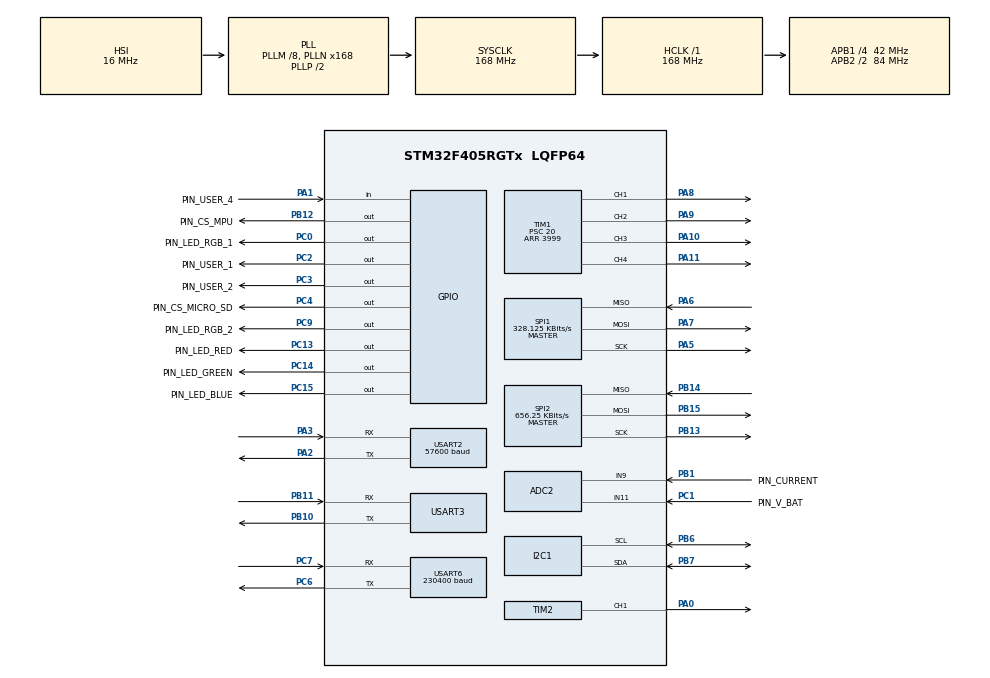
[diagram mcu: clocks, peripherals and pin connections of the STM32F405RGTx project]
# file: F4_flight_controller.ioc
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ADC2.Channel-0\#ChannelRegularConversion=ADC_CHANNEL_9
ADC2.ContinuousConvMode=ENABLE
ADC2.DMAContinuousRequests=ENABLE
ADC2.NbrOfConversionFlag=1
ADC2.Rank-0\#ChannelRegularConversion=1
ADC2.SamplingTime-0\#ChannelRegularConversion=ADC_SAMPLETIME_3CYCLES
Dma.ADC2.7.Direction=DMA_PERIPH_TO_MEMORY
Dma.ADC2.7.FIFOMode=DMA_FIFOMODE_DISABLE
Dma.ADC2.7.Instance=DMA2_Stream2
Dma.ADC2.7.MemDataAlignment=DMA_MDATAALIGN_HALFWORD
Dma.ADC2.7.MemInc=DMA_MINC_ENABLE
Dma.ADC2.7.Mode=DMA_CIRCULAR
Dma.ADC2.7.PeriphDataAlignment=DMA_PDATAALIGN_HALFWORD
Dma.ADC2.7.PeriphInc=DMA_PINC_DISABLE
Dma.ADC2.7.Priority=DMA_PRIORITY_LOW
Dma.I2C1_RX.2.Direction=DMA_PERIPH_TO_MEMORY
Dma.I2C1_RX.2.FIFOMode=DMA_FIFOMODE_DISABLE
Dma.I2C1_RX.2.Instance=DMA1_Stream0
Dma.I2C1_RX.2.MemDataAlignment=DMA_MDATAALIGN_BYTE
Dma.I2C1_RX.2.MemInc=DMA_MINC_ENABLE
Dma.I2C1_RX.2.Mode=DMA_NORMAL
Dma.I2C1_RX.2.PeriphDataAlignment=DMA_PDATAALIGN_BYTE
Dma.I2C1_RX.2.PeriphInc=DMA_PINC_DISABLE
Dma.I2C1_RX.2.Priority=DMA_PRIORITY_LOW
Dma.I2C1_TX.3.Direction=DMA_MEMORY_TO_PERIPH
Dma.I2C1_TX.3.FIFOMode=DMA_FIFOMODE_DISABLE
Dma.I2C1_TX.3.Instance=DMA1_Stream7
Dma.I2C1_TX.3.MemDataAlignment=DMA_MDATAALIGN_BYTE
Dma.I2C1_TX.3.MemInc=DMA_MINC_ENABLE
Dma.I2C1_TX.3.Mode=DMA_NORMAL
Dma.I2C1_TX.3.PeriphDataAlignment=DMA_PDATAALIGN_BYTE
Dma.I2C1_TX.3.PeriphInc=DMA_PINC_DISABLE
Dma.I2C1_TX.3.Priority=DMA_PRIORITY_LOW
Dma.Request0=SPI2_RX
Dma.Request1=SPI2_TX
Dma.Request10=USART2_RX
Dma.Request11=USART2_TX
Dma.Request2=I2C1_RX
Dma.Request3=I2C1_TX
Dma.Request4=SPI1_RX
Dma.Request5=SPI1_TX
Dma.Request6=USART6_TX
Dma.Request7=ADC2
Dma.Request8=USART3_RX
Dma.Request9=USART6_RX
Dma.SPI1_RX.4.Direction=DMA_PERIPH_TO_MEMORY
Dma.SPI1_RX.4.FIFOMode=DMA_FIFOMODE_DISABLE
Dma.SPI1_RX.4.Instance=DMA2_Stream0
Dma.SPI1_RX.4.MemDataAlignment=DMA_MDATAALIGN_BYTE
Dma.SPI1_RX.4.MemInc=DMA_MINC_ENABLE
Dma.SPI1_RX.4.Mode=DMA_NORMAL
Dma.SPI1_RX.4.PeriphDataAlignment=DMA_PDATAALIGN_BYTE
Dma.SPI1_RX.4.PeriphInc=DMA_PINC_DISABLE
Dma.SPI1_RX.4.Priority=DMA_PRIORITY_LOW
Dma.SPI1_TX.5.Direction=DMA_MEMORY_TO_PERIPH
Dma.SPI1_TX.5.FIFOMode=DMA_FIFOMODE_DISABLE
Dma.SPI1_TX.5.Instance=DMA2_Stream3
Dma.SPI1_TX.5.MemDataAlignment=DMA_MDATAALIGN_BYTE
Dma.SPI1_TX.5.MemInc=DMA_MINC_ENABLE
Dma.SPI1_TX.5.Mode=DMA_NORMAL
Dma.SPI1_TX.5.PeriphDataAlignment=DMA_PDATAALIGN_BYTE
Dma.SPI1_TX.5.PeriphInc=DMA_PINC_DISABLE
Dma.SPI1_TX.5.Priority=DMA_PRIORITY_LOW
Dma.SPI2_RX.0.Direction=DMA_PERIPH_TO_MEMORY
Dma.SPI2_RX.0.FIFOMode=DMA_FIFOMODE_DISABLE
Dma.SPI2_RX.0.Instance=DMA1_Stream3
Dma.SPI2_RX.0.MemDataAlignment=DMA_MDATAALIGN_BYTE
Dma.SPI2_RX.0.MemInc=DMA_MINC_ENABLE
Dma.SPI2_RX.0.Mode=DMA_NORMAL
Dma.SPI2_RX.0.PeriphDataAlignment=DMA_PDATAALIGN_BYTE
Dma.SPI2_RX.0.PeriphInc=DMA_PINC_DISABLE
Dma.SPI2_RX.0.Priority=DMA_PRIORITY_LOW
Dma.SPI2_TX.1.Direction=DMA_MEMORY_TO_PERIPH
Dma.SPI2_TX.1.FIFOMode=DMA_FIFOMODE_DISABLE
Dma.SPI2_TX.1.Instance=DMA1_Stream4
Dma.SPI2_TX.1.MemDataAlignment=DMA_MDATAALIGN_BYTE
Dma.SPI2_TX.1.MemInc=DMA_MINC_ENABLE
Dma.SPI2_TX.1.Mode=DMA_NORMAL
Dma.SPI2_TX.1.PeriphDataAlignment=DMA_PDATAALIGN_BYTE
Dma.SPI2_TX.1.PeriphInc=DMA_PINC_DISABLE
Dma.SPI2_TX.1.Priority=DMA_PRIORITY_LOW
Dma.USART2_RX.10.Direction=DMA_PERIPH_TO_MEMORY
Dma.USART2_RX.10.FIFOMode=DMA_FIFOMODE_DISABLE
Dma.USART2_RX.10.Instance=DMA1_Stream5
Dma.USART2_RX.10.MemDataAlignment=DMA_MDATAALIGN_BYTE
Dma.USART2_RX.10.MemInc=DMA_MINC_ENABLE
Dma.USART2_RX.10.Mode=DMA_NORMAL
Dma.USART2_RX.10.PeriphDataAlignment=DMA_PDATAALIGN_BYTE
Dma.USART2_RX.10.PeriphInc=DMA_PINC_DISABLE
Dma.USART2_RX.10.Priority=DMA_PRIORITY_LOW
Dma.USART2_TX.11.Direction=DMA_MEMORY_TO_PERIPH
Dma.USART2_TX.11.FIFOMode=DMA_FIFOMODE_DISABLE
Dma.USART2_TX.11.Instance=DMA1_Stream6
Dma.USART2_TX.11.MemDataAlignment=DMA_MDATAALIGN_BYTE
Dma.USART2_TX.11.MemInc=DMA_MINC_ENABLE
Dma.USART2_TX.11.Mode=DMA_NORMAL
Dma.USART2_TX.11.PeriphDataAlignment=DMA_PDATAALIGN_BYTE
Dma.USART2_TX.11.PeriphInc=DMA_PINC_DISABLE
Dma.USART2_TX.11.Priority=DMA_PRIORITY_LOW
Dma.USART3_RX.8.Direction=DMA_PERIPH_TO_MEMORY
Dma.USART3_RX.8.FIFOMode=DMA_FIFOMODE_DISABLE
Dma.USART3_RX.8.Instance=DMA1_Stream1
Dma.USART3_RX.8.MemDataAlignment=DMA_MDATAALIGN_BYTE
Dma.USART3_RX.8.MemInc=DMA_MINC_ENABLE
Dma.USART3_RX.8.Mode=DMA_CIRCULAR
Dma.USART3_RX.8.PeriphDataAlignment=DMA_PDATAALIGN_BYTE
Dma.USART3_RX.8.PeriphInc=DMA_PINC_DISABLE
Dma.USART3_RX.8.Priority=DMA_PRIORITY_LOW
Dma.USART6_RX.9.Direction=DMA_PERIPH_TO_MEMORY
Dma.USART6_RX.9.FIFOMode=DMA_FIFOMODE_DISABLE
Dma.USART6_RX.9.Instance=DMA2_Stream1
Dma.USART6_RX.9.MemDataAlignment=DMA_MDATAALIGN_BYTE
Dma.USART6_RX.9.MemInc=DMA_MINC_ENABLE
Dma.USART6_RX.9.Mode=DMA_NORMAL
Dma.USART6_RX.9.PeriphDataAlignment=DMA_PDATAALIGN_BYTE
Dma.USART6_RX.9.PeriphInc=DMA_PINC_DISABLE
Dma.USART6_RX.9.Priority=DMA_PRIORITY_LOW
Dma.USART6_TX.6.Direction=DMA_MEMORY_TO_PERIPH
Dma.USART6_TX.6.FIFOMode=DMA_FIFOMODE_DISABLE
Dma.USART6_TX.6.Instance=DMA2_Stream6
Dma.USART6_TX.6.MemDataAlignment=DMA_MDATAALIGN_BYTE
Dma.USART6_TX.6.MemInc=DMA_MINC_ENABLE
Dma.USART6_TX.6.Mode=DMA_NORMAL
Dma.USART6_TX.6.PeriphDataAlignment=DMA_PDATAALIGN_BYTE
Dma.USART6_TX.6.PeriphInc=DMA_PINC_DISABLE
Dma.USART6_TX.6.Priority=DMA_PRIORITY_LOW
I2C1.I2C_Mode=I2C_Fast
Mcu.Family=STM32F4
Mcu.Name=STM32F405RGTx
Mcu.Package=LQFP64
NVIC.DMA1_Stream0_IRQn=true\:0\:0\:false\:false\:true\:false\:true
NVIC.DMA1_Stream1_IRQn=true\:0\:0\:false\:false\:true\:false\:true
NVIC.DMA1_Stream3_IRQn=true\:0\:0\:false\:false\:true\:false\:true
NVIC.DMA1_Stream4_IRQn=true\:0\:0\:false\:false\:true\:false\:true
NVIC.DMA1_Stream5_IRQn=true\:0\:0\:false\:false\:true\:false\:true
NVIC.DMA1_Stream6_IRQn=true\:0\:0\:false\:false\:true\:false\:true
NVIC.DMA1_Stream7_IRQn=true\:0\:0\:false\:false\:true\:false\:true
NVIC.DMA2_Stream0_IRQn=true\:0\:0\:false\:false\:true\:false\:true
NVIC.DMA2_Stream1_IRQn=true\:0\:0\:false\:false\:true\:false\:true
NVIC.DMA2_Stream2_IRQn=true\:0\:0\:false\:false\:true\:false\:true
NVIC.DMA2_Stream3_IRQn=true\:0\:0\:false\:false\:true\:false\:true
NVIC.DMA2_Stream6_IRQn=true\:0\:0\:false\:false\:true\:false\:true
NVIC.I2C1_ER_IRQn=true\:0\:0\:false\:false\:true\:true\:true
NVIC.I2C1_EV_IRQn=true\:0\:0\:false\:false\:true\:true\:true
NVIC.PriorityGroup=NVIC_PRIORITYGROUP_4
NVIC.TIM2_IRQn=true\:0\:0\:false\:false\:true\:true\:true
NVIC.USART2_IRQn=true\:0\:0\:false\:false\:true\:true\:true
NVIC.USART3_IRQn=true\:0\:0\:false\:false\:true\:true\:true
PA0-WKUP.Signal=S_TIM2_CH1_ETR
PA1.GPIO_Label=PIN_USER_4
PA1.Signal=GPIO_Input
PA10.Signal=S_TIM1_CH3
PA11.Signal=S_TIM1_CH4
PA13.Mode=Trace_Asynchronous_SW
PA13.Signal=SYS_JTMS-SWDIO
PA14.Mode=Trace_Asynchronous_SW
PA14.Signal=SYS_JTCK-SWCLK
PA2.Mode=Asynchronous
PA2.Signal=USART2_TX
PA3.Mode=Asynchronous
PA3.Signal=USART2_RX
PA5.Mode=Full_Duplex_Master
PA5.Signal=SPI1_SCK
PA6.Mode=Full_Duplex_Master
PA6.Signal=SPI1_MISO
PA7.Mode=Full_Duplex_Master
PA7.Signal=SPI1_MOSI
PA8.Signal=S_TIM1_CH1
PA9.Signal=S_TIM1_CH2
PB1.GPIO_Label=PIN_CURRENT
PB1.Signal=ADCx_IN9
PB10.Mode=Asynchronous
PB10.Signal=USART3_TX
PB11.Mode=Asynchronous
PB11.Signal=USART3_RX
PB12.GPIO_Label=PIN_CS_MPU
PB12.Signal=GPIO_Output
PB13.Mode=Full_Duplex_Master
PB13.Signal=SPI2_SCK
PB14.Mode=Full_Duplex_Master
PB14.Signal=SPI2_MISO
PB15.Mode=Full_Duplex_Master
PB15.Signal=SPI2_MOSI
PB3.Mode=Trace_Asynchronous_SW
PB3.Signal=SYS_JTDO-SWO
PB6.Mode=I2C
PB6.Signal=I2C1_SCL
PB7.Mode=I2C
PB7.Signal=I2C1_SDA
PC0.GPIO_Label=PIN_LED_RGB_1
PC0.PinState=GPIO_PIN_SET
PC0.Signal=GPIO_Output
PC1.GPIO_Label=PIN_V_BAT
PC1.Signal=ADCx_IN11
PC13-ANTI_TAMP.GPIO_Label=PIN_LED_RED
PC13-ANTI_TAMP.Signal=GPIO_Output
PC14-OSC32_IN.GPIO_Label=PIN_LED_GREEN
PC14-OSC32_IN.Signal=GPIO_Output
PC15-OSC32_OUT.GPIO_Label=PIN_LED_BLUE
PC15-OSC32_OUT.Signal=GPIO_Output
PC2.GPIO_Label=PIN_USER_1
PC2.Signal=GPIO_Output
PC3.GPIO_Label=PIN_USER_2
PC3.Signal=GPIO_Output
PC4.GPIO_Label=PIN_CS_MICRO_SD
PC4.Signal=GPIO_Output
PC6.Mode=Asynchronous
PC6.Signal=USART6_TX
PC7.Mode=Asynchronous
PC7.Signal=USART6_RX
PC9.GPIO_Label=PIN_LED_RGB_2
PC9.Signal=GPIO_Output
PH0-OSC_IN.Signal=RCC_OSC_IN
PH1-OSC_OUT.Signal=RCC_OSC_OUT
ProjectManager.HeapSize=0x200
ProjectManager.StackSize=0x400
ProjectManager.TargetToolchain=STM32CubeIDE
RCC.48MHZClocksFreq_Value=84000000
RCC.AHBFreq_Value=168000000
RCC.APB1CLKDivider=RCC_HCLK_DIV4
RCC.APB1Freq_Value=42000000
RCC.APB1TimFreq_Value=84000000
RCC.APB2CLKDivider=RCC_HCLK_DIV2
RCC.APB2Freq_Value=84000000
RCC.APB2TimFreq_Value=168000000
RCC.CortexFreq_Value=168000000
RCC.HCLKFreq_Value=168000000
RCC.HSE_VALUE=25000000
RCC.HSI_VALUE=16000000
RCC.LSE_VALUE=32768
RCC.PLLM=8
RCC.PLLN=168
RCC.SYSCLKFreq_VALUE=168000000
RCC.SYSCLKSource=RCC_SYSCLKSOURCE_PLLCLK
RCC.VCOOutputFreq_Value=336000000
SH.ADCx_IN11.0=ADC2_IN11,IN11
SH.ADCx_IN9.0=ADC2_IN9,IN9
SH.S_TIM1_CH1.0=TIM1_CH1,PWM Generation1 CH1
SH.S_TIM1_CH2.0=TIM1_CH2,PWM Generation2 CH2
SH.S_TIM1_CH3.0=TIM1_CH3,PWM Generation3 CH3
SH.S_TIM1_CH4.0=TIM1_CH4,PWM Generation4 CH4
SH.S_TIM2_CH1_ETR.0=TIM2_CH1,PWM Generation1 CH1
SPI1.BaudRatePrescaler=SPI_BAUDRATEPRESCALER_256
SPI1.CalculateBaudRate=328.125 KBits/s
SPI1.Direction=SPI_DIRECTION_2LINES
SPI1.Mode=SPI_MODE_MASTER
SPI1.VirtualType=VM_MASTER
SPI2.BaudRatePrescaler=SPI_BAUDRATEPRESCALER_64
SPI2.CalculateBaudRate=656.25 KBits/s
SPI2.Direction=SPI_DIRECTION_2LINES
SPI2.Mode=SPI_MODE_MASTER
SPI2.VirtualType=VM_MASTER
TIM1.AutoReloadPreload=TIM_AUTORELOAD_PRELOAD_ENABLE
TIM1.Channel-PWM\ Generation1\ CH1=TIM_CHANNEL_1
TIM1.Channel-PWM\ Generation2\ CH2=TIM_CHANNEL_2
TIM1.Channel-PWM\ Generation3\ CH3=TIM_CHANNEL_3
TIM1.Channel-PWM\ Generation4\ CH4=TIM_CHANNEL_4
TIM1.Period=3999
TIM1.Prescaler=20
TIM1.Pulse-PWM\ Generation1\ CH1=999
TIM1.Pulse-PWM\ Generation2\ CH2=999
TIM1.Pulse-PWM\ Generation3\ CH3=999
TIM1.Pulse-PWM\ Generation4\ CH4=999
TIM2.AutoReloadPreload=TIM_AUTORELOAD_PRELOAD_ENABLE
TIM2.Channel-PWM\ Generation1\ CH1=TIM_CHANNEL_1
TIM2.Period=227
TIM2.Prescaler=1679
TIM2.Pulse-PWM\ Generation1\ CH1=100
USART2.BaudRate=57600
USART2.VirtualMode=VM_ASYNC
USART3.VirtualMode=VM_ASYNC
USART6.BaudRate=230400
USART6.VirtualMode=VM_ASYNC
VP_TIM1_VS_ClockSourceINT.Mode=Internal
VP_TIM2_VS_ClockSourceINT.Mode=Internal
board=custom

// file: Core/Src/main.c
/* USER CODE BEGIN Header */
/**
  ******************************************************************************
  * @file           : main.c
  * @brief          : Main program body
  ******************************************************************************
  * @attention
  *
  * <h2><center>&copy; Copyright (c) 2020 STMicroelectronics.
  * All rights reserved.</center></h2>
  *
  * This software component is licensed by ST under BSD 3-Clause license,
  * the "License"; You may not use this file except in compliance with the
  * License. You may obtain a copy of the License at:
  *                        opensource.org/licenses/BSD-3-Clause
  *
  ******************************************************************************
  */
/* USER CODE END Header */
#include "main.h"
#include "adc.h"
#include "dma.h"
#include "i2c.h"
#include "spi.h"
#include "tim.h"
#include "usart.h"
#include "gpio.h"

/* USER CODE BEGIN Includes */
#include "../OS/system_d.h"
#include "../OS/scheduler/scheduler.h"
#include "../OS/events/events.h"
#include "../Flight_mode/Flight_mode.h"
#include "../Data_Logger/Data_logger.h"
/* USER CODE END Includes */

/* USER CODE BEGIN PV */
system_t sys ;
/* USER CODE END PV */

void SystemClock_Config(void);

int main(void)
{

  /* MCU Configuration--------------------------------------------------------*/

  /* Reset of all peripherals, Initializes the Flash interface and the Systick. */
  HAL_Init();

  /* Configure the system clock */
  SystemClock_Config();

  /* USER CODE BEGIN SysInit */
  HAL_Delay(200);	//Let the time to the components to start
  /* USER CODE END SysInit */

  /* Initialize all configured peripherals */
  MX_GPIO_Init();
  MX_DMA_Init();
  MX_I2C1_Init();
  MX_SPI1_Init();
  MX_SPI2_Init();
  MX_TIM1_Init();
  MX_USART2_UART_Init();
  MX_USART3_UART_Init();
  MX_USART6_UART_Init();
  MX_ADC2_Init();
  MX_TIM2_Init();
  /* USER CODE BEGIN 2 */
  HAL_Delay(200);	//Let the time for the components to start

  //Init du GYRO et de l ACC en utilisant un MPU6000
  MPU_init(&sys.sensors.mpu, &hspi2, PIN_CS_MPU_GPIO_Port, PIN_CS_MPU_Pin);
  HAL_Delay(200);	//Let the time for the components to start
  GYRO_init(&sys.sensors.gyro, &sys.sensors.mpu);
  HAL_Delay(200);	//Let the time for the components to start
  ACC_init(&sys.sensors.acc, &sys.sensors.mpu);

  //Init du baromètre
  BARO_init(&sys.sensors.baro, &sys.sensors.ms5611, &hi2c1);

  IHM_Init(&sys.ihm);
  IHM_Led_Init(LED_HIGH_LVL, 30, PIN_LED_RGB_1_Pin, LED_OUTPUT_NEGATIVE);
  IHM_Led_Init(LED_SENSORS, 30, PIN_LED_RGB_2_Pin, LED_OUTPUT_NEGATIVE);

  IHM_Set_Sequences(LED_HIGH_LVL, SEQUENCE_LED_OFF, SEQUENCE_LED_1, SEQUENCE_LED_OFF);
  IHM_Set_Sequences(LED_SENSORS, SEQUENCE_LED_OFF, SEQUENCE_LED_1, SEQUENCE_LED_OFF);
  BUZZER_Init(&sys.ihm.buzzer, &htim2);

  BATTERIE_Init(&sys.sensors.batterie, &hadc2);

  CONTROLLER_Init(&sys.radio.controller, &sys.radio.ibus);
  IBUS_init(&sys.radio.ibus, &huart3, CONTROLLER_Rx_Data_Rdy);

  ORIENTATION_Init(&sys.orientation, &sys.sensors.gyro, &sys.sensors.acc, GYRO_FREQUENCY);
  POSITION_Init(&sys.position, &sys.orientation, &sys.sensors.acc, &sys.sensors.baro, GYRO_FREQUENCY);
  REGULATION_ORIENTATION_Init(&sys.regulation.orientation, &sys.orientation, sys.propulsion.consigne);
  REGULATION_POSITION_Init(&sys.regulation.position, &sys.position, sys.propulsion.consigne);
  PROPULSION_Init(&sys.propulsion, &htim1);

  TELEMETRY_Init(&sys.radio.telemetry, &huart2);

  FLIGHT_MODE_Init(&sys);

  SCHEDULER_init(&sys);
  EVENT_init(&sys);

  DATA_LOGGER_Init(&sys);

  /* USER CODE END 2 */

  /* Infinite loop */
  /* USER CODE BEGIN WHILE */
  while (1)
  {
	SCHEDULER_run();
    /* USER CODE END WHILE */

  }
}

void SystemClock_Config(void)
{
  RCC_OscInitTypeDef RCC_OscInitStruct = {0};
  RCC_ClkInitTypeDef RCC_ClkInitStruct = {0};

  /** Configure the main internal regulator output voltage
  */
  __HAL_RCC_PWR_CLK_ENABLE();
  __HAL_PWR_VOLTAGESCALING_CONFIG(PWR_REGULATOR_VOLTAGE_SCALE1);
  /** Initializes the RCC Oscillators according to the specified parameters
  * in the RCC_OscInitTypeDef structure.
  */
  RCC_OscInitStruct.OscillatorType = RCC_OSCILLATORTYPE_HSI;
  RCC_OscInitStruct.HSIState = RCC_HSI_ON;
  RCC_OscInitStruct.HSICalibrationValue = RCC_HSICALIBRATION_DEFAULT;
  RCC_OscInitStruct.PLL.PLLState = RCC_PLL_ON;
  RCC_OscInitStruct.PLL.PLLSource = RCC_PLLSOURCE_HSI;
  RCC_OscInitStruct.PLL.PLLM = 8;
  RCC_OscInitStruct.PLL.PLLN = 168;
  RCC_OscInitStruct.PLL.PLLP = RCC_PLLP_DIV2;
  RCC_OscInitStruct.PLL.PLLQ = 4;
  if (HAL_RCC_OscConfig(&RCC_OscInitStruct) != HAL_OK)
  {
    Error_Handler();
  }
  /** Initializes the CPU, AHB and APB buses clocks
  */
  RCC_ClkInitStruct.ClockType = RCC_CLOCKTYPE_HCLK|RCC_CLOCKTYPE_SYSCLK
                              |RCC_CLOCKTYPE_PCLK1|RCC_CLOCKTYPE_PCLK2;
  RCC_ClkInitStruct.SYSCLKSource = RCC_SYSCLKSOURCE_PLLCLK;
  RCC_ClkInitStruct.AHBCLKDivider = RCC_SYSCLK_DIV1;
  RCC_ClkInitStruct.APB1CLKDivider = RCC_HCLK_DIV4;
  RCC_ClkInitStruct.APB2CLKDivider = RCC_HCLK_DIV2;

  if (HAL_RCC_ClockConfig(&RCC_ClkInitStruct, FLASH_LATENCY_5) != HAL_OK)
  {
    Error_Handler();
  }
}

void Error_Handler(void)
{
}

/************************ (C) COPYRIGHT STMicroelectronics *****END OF FILE****/
